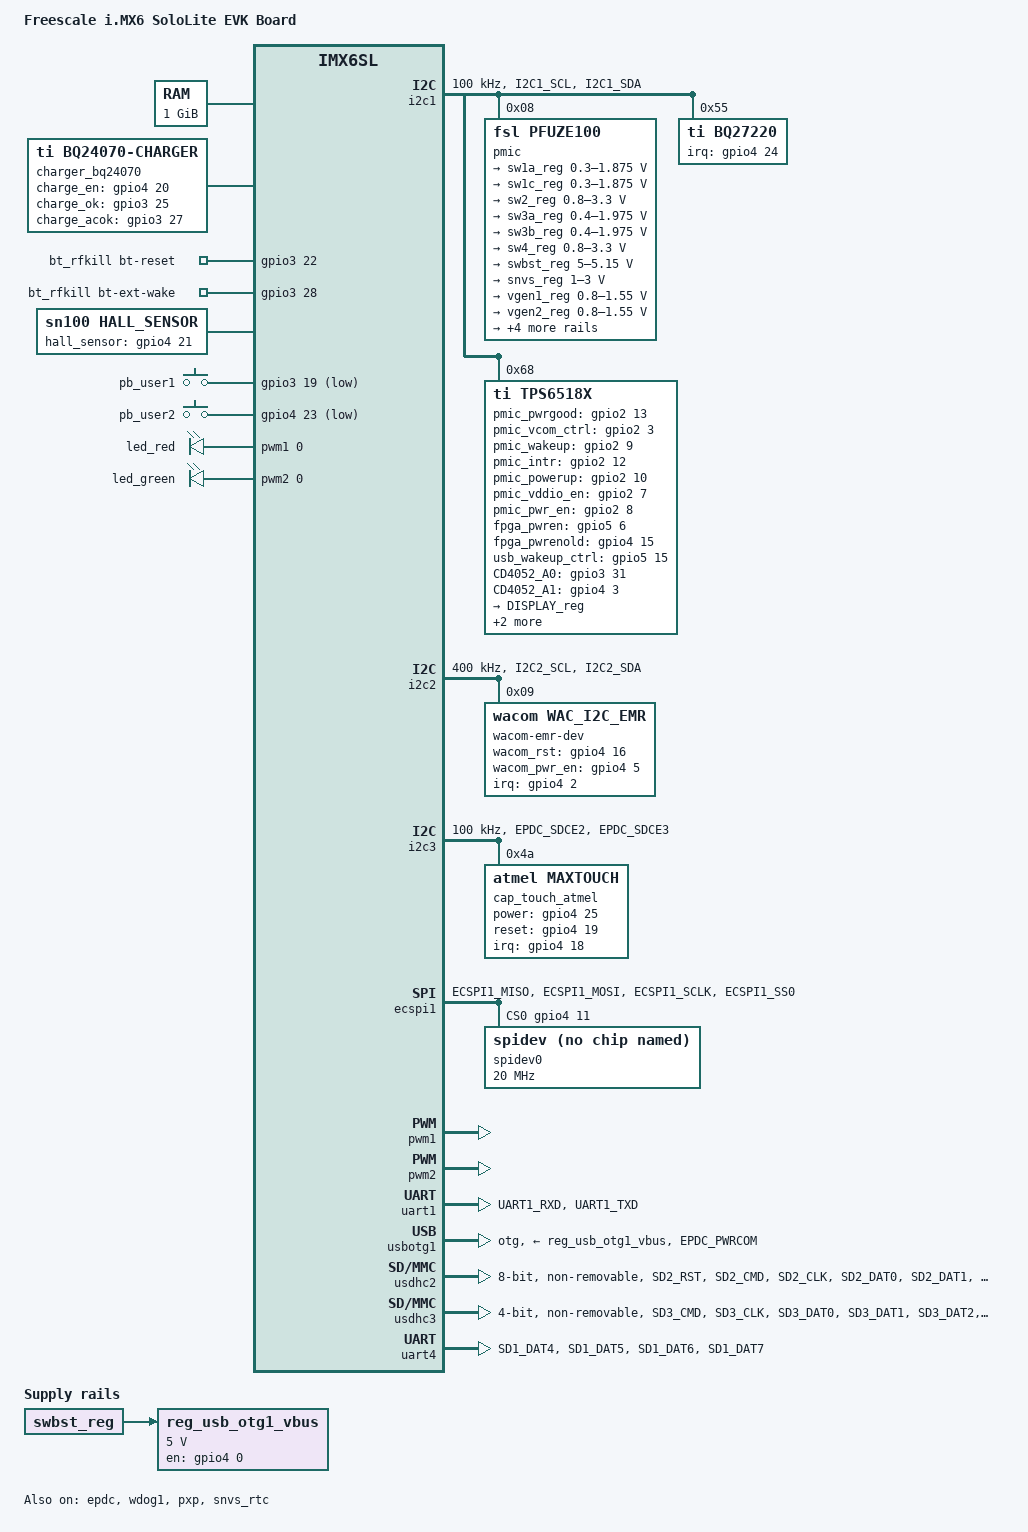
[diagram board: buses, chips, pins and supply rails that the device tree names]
/*
 * Copyright (C) 2013 Freescale Semiconductor, Inc.
 *
 * This program is free software; you can redistribute it and/or modify
 * it under the terms of the GNU General Public License version 2 as
 * published by the Free Software Foundation.
 */

/dts-v1/;

#include <dt-bindings/gpio/gpio.h>
#include <dt-bindings/input/input.h>
#include "imx6sl.dtsi"

/ {
	model = "Freescale i.MX6 SoloLite EVK Board";
	compatible = "fsl,imx6sl-evk", "fsl,imx6sl";

	memory {
		reg = <0x80000000 0x40000000>;
	};

	hardware: hardware {
		id = "sn100";
		status = "okay";
	};

	charger_bq24070 {
		compatible = "ti,bq24070-charger";
		pinctrl-names = "default";
		pinctrl-0 = <&pinctrl_charger>;
		charge_en = <&gpio4 20 0>;	
		charge_ok = <&gpio3 25 0>;	
		charge_acok = <&gpio3 27 0>;	
		status = "okay";
	};


	bt_rfkill {
		compatible = "fsl,mxc_bt_rfkill";
		pinctrl-names = "default";
		pinctrl-0 = <&pinctrl_bcm_bt_rfkill>;
		bt-reset-gpios = <&gpio3 22 0>;
		bt-ext-wake-gpios  = <&gpio3 28 0>;
		status = "okay";
	};

	hall_sensor {
		compatible =  "sn100,hall_sensor";
		pinctrl-names = "default";
		pinctrl-0 = <&pinctrl_hall_sensor>;
		gpio_hall_sensor = <&gpio4 21 0>;	// hall out
		status = "okay";
	};
	
#if 1
	gpio_keys{
		compatible = "gpio-keys";
		//#address-cells = <1>;
		//#size-cells = <0>;
		pinctrl-names = "default";
		pinctrl-0 = <&pinctrl_wakpin>;

		reg = <0x020a4000 0x4000>;
		
		gpio-controller;
		#gpio-cells = <2>;
		interrupt-controller;
		#interrupt-cells = <2>;
		status = "okay";

		pb_user1 {
		
		label = "pb_user1";
		gpios = <&gpio3 19 GPIO_ACTIVE_LOW>;
		interrupts = <0 103 IRQ_TYPE_EDGE_FALLING>;
		linux,code = <KEY_WAKEUP>;
		gpio-key,wakeup;
         };
         
		pb_user2 {
		
		label = "pb_user2";
		gpios = <&gpio4  23 GPIO_ACTIVE_LOW>;
		interrupts = <0 105 IRQ_TYPE_EDGE_FALLING>;
		linux,code = <KEY_WAKEUP>;
		gpio-key,wakeup;
         };
     };
#endif
#if 0
	gpio_keys {
		compatible = "gpio-keys";
		interrupt-controller;
		//#address-cells = <1>;
		//#size-cells = <0>;
		pinctrl-names = "default";
		pinctrl-0 = <&pinctrl_wakpin>;

	//	reg = <0x020a4000 0x20>;
	//	interrupts = <83  IRQ_TYPE_EDGE_FALLING>;
	//	gpio-controller;
	//	#gpio-cells = <2>;
		
	//	#interrupt-cells = <2>;
		status = "okay";

		pb_user1 {
		label = "pb_user1";
	//	interrupts = <83  IRQ_TYPE_EDGE_FALLING>;
		gpios = <&gpio3 19 GPIO_ACTIVE_HIGH>;
		linux,code = <KEY_WAKEUP>;
		gpio-key,wakeup;
         };
         /*
		pb_user2 {
		label = "pb_user2";
//		interrupts = <119  IRQ_TYPE_EDGE_FALLING>;
		gpios = <&gpio4  23 GPIO_ACTIVE_HIGH>;
		linux,code = <KEY_WAKEUP>;
		gpio-key,wakeup;
         };
         */
     };
#endif
	leds {
		compatible = "pwm-leds";
		pinctrl-names = "default";
		pinctrl-0 = <&pinctrl_pwm1 &pinctrl_pwm2>;
		red {
			label = "led_red";
			pwms = <&pwm1 0 10000000>;
			max-brightness = <255>;
//			linux,default-trigger = "default-on";
		};

		green {
			label = "led_green";
			pwms = <&pwm2 0 10000000>;
			max-brightness = <255>;
//			linux,default-trigger = "default-on";
		};
	};

	regulators {
		compatible = "simple-bus";
		#address-cells = <1>;
		#size-cells = <0>;

		reg_usb_otg1_vbus: regulator@0 {
			compatible = "regulator-fixed";
			reg = <0>;
			regulator-name = "usb_otg1_vbus";
			regulator-min-microvolt = <5000000>;
			regulator-max-microvolt = <5000000>;
			gpio = <&gpio4 0 1>;
			enable-active-high;
			vin-supply = <&swbst_reg>;
		};
	};
};

&cpu0 {
	arm-supply = <&sw1a_reg>;
	soc-supply = <&sw1c_reg>;
};

&epdc {
		pinctrl-names = "default","sleep";
		pinctrl-0 = <&pinctrl_epdc_0>;
		pinctrl-1 = <&pinctrl_epdc_1>;
	//	fpga_pwrenold = <&gpio4 15 0>;
		V3P3-supply = <&V3P3_reg>;
		VCOM-supply = <&VCOM_reg>;
		DISPLAY-supply = <&DISPLAY_reg>;
		status = "okay";
};

&wdog1 {
		pinctrl-names = "default";
		pinctrl-0 = <&pinctrl_wdog1>;
		fsl,wdog_b;
		status = "okay";
};

&gpc {
	 fsl,ldo-bypass = <1>;
};

&i2c1 {
	clock-frequency = <100000>;
	pinctrl-names = "default";
	pinctrl-0 = <&pinctrl_i2c1>;
	status = "okay";

	pmic: pfuze100@08 {
		compatible = "fsl,pfuze100";
		reg = <0x08>;

		regulators {
			sw1a_reg: sw1ab {
				regulator-min-microvolt = <300000>;
				regulator-max-microvolt = <1875000>;
				regulator-boot-on;
				regulator-always-on;
				regulator-ramp-delay = <6250>;
			};

			sw1c_reg: sw1c {
				regulator-min-microvolt = <300000>;
				regulator-max-microvolt = <1875000>;
				regulator-boot-on;
				regulator-always-on;
				regulator-ramp-delay = <6250>;
			};

			sw2_reg: sw2 {
				regulator-min-microvolt = <800000>;
				regulator-max-microvolt = <3300000>;
				regulator-boot-on;
				regulator-always-on;
			};

			sw3a_reg: sw3a {
				regulator-min-microvolt = <400000>;
				regulator-max-microvolt = <1975000>;
				regulator-boot-on;
				regulator-always-on;
			};

			sw3b_reg: sw3b {
				regulator-min-microvolt = <400000>;
				regulator-max-microvolt = <1975000>;
				regulator-boot-on;
				regulator-always-on;
			};

			sw4_reg: sw4 {
				regulator-min-microvolt = <800000>;
				regulator-max-microvolt = <3300000>;
			};

			swbst_reg: swbst {
				regulator-min-microvolt = <5000000>;
				regulator-max-microvolt = <5150000>;
			};

			snvs_reg: vsnvs {
				regulator-min-microvolt = <1000000>;
				regulator-max-microvolt = <3000000>;
				regulator-boot-on;
				regulator-always-on;
			};

			vref_reg: vrefddr {
				regulator-boot-on;
				regulator-always-on;
			};

			vgen1_reg: vgen1 {
				regulator-min-microvolt = <800000>;
				regulator-max-microvolt = <1550000>;
				regulator-always-on;
			};

			vgen2_reg: vgen2 {
				regulator-min-microvolt = <800000>;
				regulator-max-microvolt = <1550000>;
			};

			vgen3_reg: vgen3 {
				regulator-min-microvolt = <1800000>;
				regulator-max-microvolt = <3300000>;
			};

			vgen4_reg: vgen4 {
				regulator-min-microvolt = <1800000>;
				regulator-max-microvolt = <3300000>;
				regulator-always-on;
			};

			vgen5_reg: vgen5 {
				regulator-min-microvolt = <1800000>;
				regulator-max-microvolt = <3300000>;
				regulator-always-on;
			};

			vgen6_reg: vgen6 {
				regulator-min-microvolt = <1800000>;
				regulator-max-microvolt = <3300000>;
				regulator-always-on;
			};
		};
	};

	bq27220@55{
		pinctrl-names = "default";
		pinctrl-0 = <&pinctrl_bq27220>;		
		compatible = "ti,bq27220";
		reg = <0x55>;
		interrupt-parent = <&gpio4>;
		interrupts = <24 IRQ_TYPE_LEVEL_LOW>;
	};

	tps6518x@68 {
		pinctrl-names = "default";
		pinctrl-0 = <&pinctrl_tps6518x>;
		compatible = "ti,tps6518x";
		reg = <0x68>;
		/*
		 * power sequencing for TPS65180/65181
		 */
		pwr_seq0 = <0xe1>; /* [Vddh-seq=3 | Vpos-seq=2 | Vee-seq=0 | Vneg-seq=1] */
		pwr_seq1 = <0x30>; /* [Vneg-dly1=3 |Vee-dly0=0]  mSec */
		pwr_seq2 = <0x33>; /* [Vddh-dly3=3 | Vpos-dly2=3] mSec */
		/*
		 * power sequencing for TPS65185/65186
		 */
	//	upseq0 = <0xe4>;
		upseq0 = <0xe1>;
	//	upseq1 = <0x55>;
		upseq1 = <0xFF>;
		dwnseq0 = <0x1e>;
	//	dwnseq1 = <0xe0>;
		dwnseq1 = <0x00>;
	
		gpio_pmic_pwrgood = <&gpio2 13 0>;    //
		gpio_pmic_vcom_ctrl = <&gpio2 3 0>;     //
		gpio_pmic_wakeup = <&gpio2 9 0>;        //
		gpio_pmic_intr = <&gpio2 12 0>;		   //
		gpio_pmic_powerup = <&gpio2 10 0>;    //

		gpio_pmic_vddio_en = <&gpio2 7 0>;      //
		gpio_pmic_pwr_en = <&gpio2 8 0>;         //
		fpga_pwren = <&gpio5 6 0>;
		fpga_pwrenold = <&gpio4 15 0>;
		usb_wakeup_ctrl = <&gpio5 15 0>;

		CD4052_A0=<&gpio3 31 0>;
		CD4052_A1=<&gpio4 3 0>;
		
		regulators {
			DISPLAY_reg: DISPLAY {
				regulator-name = "DISPLAY";
			};

			VCOM_reg: VCOM {
				regulator-name = "VCOM";
				/* 2's-compliment, -4325000 */
				regulator-min-microvolt = <0xffbe0178>;
				/* 2's-compliment, -500000 */
				regulator-max-microvolt = <0xfff85ee0>;
			};

			V3P3_reg: V3P3 {
				regulator-name = "V3P3";
			};
		};
	};
};


&i2c2 {
	clock-frequency = <400000>;
	pinctrl-names = "default";
	pinctrl-0 = <&pinctrl_i2c2>;
	status = "okay";

	wacom-emr-dev@09 {
		pinctrl-names = "default","sleep";
		//pinctrl-0 = <&pinctrl_epdc_0>;
		//pinctrl-1 = <&pinctrl_epdc_1>;
		//pinctrl-names = "default";
		pinctrl-0 = <&pinctrl_wacom_emr>;
		pinctrl-1 = <&pinctrl_wacom_emr_sleep>;
		compatible = "wacom,wac_i2c_emr";
		reg = <0x09>;
		interrupt-parent = <&gpio4>;		
		interrupts = <2 IRQ_TYPE_EDGE_FALLING>;
		gpio_wacom_rst = <&gpio4 16 0>;		
		gpio_wacom_pwr_en  = <&gpio4 5 0>;
		status = "okay";
	};
};

#define MXT_SUSPEND_DEEP_SLEEP 0
&i2c3 {
	clock-frequency = <100000>;
	pinctrl-names = "default";
	pinctrl-0 = <&pinctrl_i2c3>;
	status = "ok";

	cap_touch_atmel{
		pinctrl-names = "default","sleep";
		pinctrl-0 = <&pinctrl_atmel_ts>;
		pinctrl-1 = <&pinctrl_atmel_ts_sleep>;
		compatible = "atmel,maxtouch";
		reg = <0x4a>;
		interrupt-parent = <&gpio4>;
		interrupts = <18 IRQ_TYPE_EDGE_FALLING>;
		atmel,power-gpio =<&gpio4 25 0>;
		atmel,reset-gpio = <&gpio4 19 0>;
		atmel,suspend-mode = <MXT_SUSPEND_DEEP_SLEEP>;
		atmel,cfg_name="maxtouch.cfg";
	};
};

&ecspi1 {
	fsl,spi-num-chipselects = <1>;
	cs-gpios = <&gpio4 11 0>;
	pinctrl-names = "default";
	pinctrl-0 = <&pinctrl_ecspi1>;
	status = "okay";

	spidev0: spi@0 {
		compatible = "spidev";
		reg = <0>;
		spi-max-frequency = <20000000>;
	};
};

&iomuxc {
	pinctrl-names = "default";
	pinctrl-0 = <&pinctrl_hog>;

	imx6sl-evk {
		pinctrl_hog: hoggrp {
			fsl,pins = <
				MX6SL_PAD_KEY_ROW7__GPIO4_IO07   	 0x17059   	//SDC_SD1_CD_B
				MX6SL_PAD_KEY_COL7__GPIO4_IO06   	 0x17059    	//SDC_SD1_WP
				MX6SL_PAD_KEY_COL4__GPIO4_IO00		0x110b0		//usb otg power
				MX6SL_PAD_KEY_ROW4__GPIO4_IO01            0x110b0         //added by wym 2018-04-19
			//	MX6SL_PAD_KEY_ROW4__USB_OTG1_OC 	0x00400840	  //added by wym 2018-04-19
			//	MX6SL_PAD_FEC_MDC__GPIO4_IO23		0x130b0			//for factory test 100k pull_down
			>;
		};
#if 0
		pinctrl_bcm_bt_rfkill: bcm_bt_rfkill {
			fsl,pins = <
		//		MX6SL_PAD_REF_CLK_32K__GPIO3_IO22   0x110b0  //AP_BT_RST_N
				MX6SL_PAD_REF_CLK_32K__GPIO3_IO22   0x00400800  //AP_BT_RST_N  //added by wym 20180531,disable the bt device,
				MX6SL_PAD_SD1_DAT4__GPIO5_IO12		0x00400800   ////added by wym 20180531,disable the bt device,
				MX6SL_PAD_SD1_DAT5__GPIO5_IO09		0x00400800   //added by wym 20180531,disable the bt device,
				MX6SL_PAD_SD1_DAT6__GPIO5_IO07		0x00400800   //added by wym 20180531,disable the bt device,
				MX6SL_PAD_SD1_DAT7__GPIO5_IO10		0x00400800   //added by wym 20180531,disable the bt device,

				MX6SL_PAD_KEY_COL2__GPIO3_IO28        0x110b0
				MX6SL_PAD_KEY_ROW2__GPIO3_IO29   	0x110b0
			/*
				MX6SL_PAD_REF_CLK_32K__GPIO3_IO22   0x00400840  //AP_BT_RST_N
				MX6SL_PAD_KEY_COL2__GPIO3_IO28        0x00400840
			//	MX6SL_PAD_REF_CLK_32K__GPIO3_IO22   0x110b0
				MX6SL_PAD_KEY_COL1__GPIO3_IO26	0x00400840
				MX6SL_PAD_SD1_DAT4__GPIO5_IO12	0x00400840
				MX6SL_PAD_SD1_DAT5__GPIO5_IO09	0x00400840
				MX6SL_PAD_SD1_DAT6__GPIO5_IO07	0x00400840
				MX6SL_PAD_SD1_DAT7__GPIO5_IO10	0x00400840

			*/
			>;
		};
#else
		pinctrl_bcm_bt_rfkill: bcm_bt_rfkill {
			fsl,pins = <
				MX6SL_PAD_REF_CLK_32K__GPIO3_IO22	0x110b0     //AP_BT_RST_N
				MX6SL_PAD_KEY_COL2__GPIO3_IO28		0x110b0     // bt_wake
				MX6SL_PAD_KEY_ROW2__GPIO3_IO29		0x110b0     // ap6212 power_en

				MX6SL_PAD_FEC_TX_EN__GPIO4_IO22         0x130B0    //clk_req  100k pull down
				MX6SL_PAD_KEY_COL1__GPIO3_IO26		0x110b0    //bt_wakeup_host
			>;
		};
#endif


		pinctrl_wacom_emr: wacom_emr_grp-0 {
			fsl,pins = <
				MX6SL_PAD_KEY_COL5__GPIO4_IO02	0x110b0			//pen int
				MX6SL_PAD_KEY_COL6__GPIO4_IO04    0x110b0             	// pen detect pin
				MX6SL_PAD_KEY_ROW6__GPIO4_IO05    0x110b0
				MX6SL_PAD_FEC_TXD1__GPIO4_IO16      0x110b0
			>;
		};
		pinctrl_wacom_emr_sleep: wacom_emr_grp-1 {
					fsl,pins = <
						MX6SL_PAD_KEY_COL5__GPIO4_IO02	0x00400840 		//pen int
						MX6SL_PAD_KEY_COL6__GPIO4_IO04	  0x00400840				// pen detect pin
						MX6SL_PAD_FEC_TXD1__GPIO4_IO16		0x00400840
					>;
				};

		pinctrl_atmel_ts: atmel_ts_grp-0 {
			fsl,pins = <
				MX6SL_PAD_FEC_RX_ER__GPIO4_IO19  		0x110b0
				MX6SL_PAD_FEC_RXD1__GPIO4_IO18  		0x110b0	
				MX6SL_PAD_FEC_CRS_DV__GPIO4_IO25 		0x110b0	
			>;
		};

		pinctrl_atmel_ts_sleep: atmel_ts_grp-1 {
					fsl,pins = <
						MX6SL_PAD_FEC_RX_ER__GPIO4_IO19 			0x00400840
						MX6SL_PAD_FEC_RXD1__GPIO4_IO18			0x00400840 
					>;
				};

		pinctrl_hall_sensor: hall_sensor_grp {
			fsl,pins = <
				MX6SL_PAD_FEC_TX_CLK__GPIO4_IO21 	0x110b0  /* hall sensor out */
			>;
		};

		pinctrl_charger: pinctrl_charger_grp {
			fsl,pins = <
				MX6SL_PAD_FEC_MDIO__GPIO4_IO20 			0x110b0  /* charger-en*/
				MX6SL_PAD_KEY_ROW0__GPIO3_IO25 			0x110b0	/* charger-ok*/
				MX6SL_PAD_KEY_ROW1__GPIO3_IO27			0x110b0	/* charger-acok*/
			>;
		};

       	pinctrl_wakpin: gpio_keys_grp {
             		fsl,pins = <
                 		MX6SL_PAD_HSIC_DAT__GPIO3_IO19    0xdf030
                 		MX6SL_PAD_FEC_MDC__GPIO4_IO23    0x1f0b0
           	  	>;
        		 };

		 pinctrl_pwm1: pwm1_grp {
			 fsl,pins = <
				 MX6SL_PAD_PWM1__PWM1_OUT 		0x110b0
			 >;
		 };

		 pinctrl_pwm2: pwm2_grp {
			 fsl,pins = <
				 MX6SL_PAD_HSIC_STROBE__PWM2_OUT 	0x110b0
			 >;
		 };

		pinctrl_wdog1: pinctrl_wdog1_grp {
			fsl,pins = <
				MX6SL_PAD_WDOG_B__WDOG1_B	 	0x110b0
			>;
		};		
		
                pinctrl_epdc_0: epdcgrp-0 {
                        fsl,pins = <
								MX6SL_PAD_EPDC_D0__EPDC_DATA00  0x80000000
								MX6SL_PAD_EPDC_D1__EPDC_DATA01  0x80000000
								MX6SL_PAD_EPDC_D2__EPDC_DATA02  0x80000000
								MX6SL_PAD_EPDC_D3__EPDC_DATA03  0x80000000
								MX6SL_PAD_EPDC_D4__EPDC_DATA04  0x80000000
								MX6SL_PAD_EPDC_D5__EPDC_DATA05  0x80000000
								MX6SL_PAD_EPDC_D6__EPDC_DATA06  0x80000000
								MX6SL_PAD_EPDC_D7__EPDC_DATA07  0x80000000
								MX6SL_PAD_EPDC_D8__EPDC_DATA08  0x80000000
								MX6SL_PAD_EPDC_D9__EPDC_DATA09  0x80000000
								MX6SL_PAD_EPDC_D10__EPDC_DATA10 0x80000000
								MX6SL_PAD_EPDC_D11__EPDC_DATA11 0x80000000
								MX6SL_PAD_EPDC_D12__EPDC_DATA12 0x80000000
								MX6SL_PAD_EPDC_D13__EPDC_DATA13 0x80000000
								MX6SL_PAD_EPDC_D14__EPDC_DATA14 0x80000000
								MX6SL_PAD_EPDC_D15__EPDC_DATA15 0x80000000
								MX6SL_PAD_EPDC_GDCLK__EPDC_GDCLK 0x80000000
								MX6SL_PAD_EPDC_GDSP__EPDC_GDSP   0x80000000
								MX6SL_PAD_EPDC_GDOE__EPDC_GDOE   0x80000000
								MX6SL_PAD_EPDC_SDCLK__EPDC_SDCLK_P 0x80000000
								MX6SL_PAD_EPDC_SDOE__EPDC_SDOE   0x80000000
								MX6SL_PAD_EPDC_SDLE__EPDC_SDLE   0x80000000
								MX6SL_PAD_EPDC_BDR0__EPDC_BDR0   0x80000000
								MX6SL_PAD_EPDC_SDCE0__EPDC_SDCE0 0x80000000

		//	   MX6SL_PAD_SD1_DAT3__GPIO5_IO06   0x110b0    //fpga power control pin
		//	   MX6SL_PAD_ECSPI2_SS0__GPIO4_IO15   0x110b0    //fpga power control pin  old

                        >;
                };
				//wym test
		pinctrl_epdc_1: epdcgrp-1 {
                        fsl,pins = <
								//MX6SL_PAD_EPDC_D0__EPDC_DATA00  	0x00400840
								//MX6SL_PAD_EPDC_D1__EPDC_DATA01  	0x00400840
								//MX6SL_PAD_EPDC_D2__EPDC_DATA02  	0x00400840
								//MX6SL_PAD_EPDC_D3__EPDC_DATA03  	0x00400840
								//MX6SL_PAD_EPDC_D4__EPDC_DATA04  	0x00400840
								//MX6SL_PAD_EPDC_D5__EPDC_DATA05  	0x00400840
								//MX6SL_PAD_EPDC_D6__EPDC_DATA06  	0x00400840
								//MX6SL_PAD_EPDC_D7__EPDC_DATA07  	0x00400840
								//MX6SL_PAD_EPDC_D8__EPDC_DATA08  	0x00400840
								//MX6SL_PAD_EPDC_D9__EPDC_DATA09  	0x00400840
								//MX6SL_PAD_EPDC_D10__EPDC_DATA10 	0x00400840
								//MX6SL_PAD_EPDC_D11__EPDC_DATA11 	0x00400840
								//MX6SL_PAD_EPDC_D12__EPDC_DATA12 	0x00400840
								//MX6SL_PAD_EPDC_D13__EPDC_DATA13 	0x00400840
								//MX6SL_PAD_EPDC_D14__EPDC_DATA14 	0x00400840
								//MX6SL_PAD_EPDC_D15__EPDC_DATA15 	0x00400840
								//MX6SL_PAD_EPDC_GDCLK__EPDC_GDCLK 	0x00400840
								//MX6SL_PAD_EPDC_GDSP__EPDC_GDSP   	0x00400840
								//MX6SL_PAD_EPDC_GDOE__EPDC_GDOE   	0x00400840
								//MX6SL_PAD_EPDC_SDCLK__EPDC_SDCLK_P 0x00400840
								//MX6SL_PAD_EPDC_SDOE__EPDC_SDOE   	0x00400840
								//MX6SL_PAD_EPDC_SDLE__EPDC_SDLE   	0x00400840
								//MX6SL_PAD_EPDC_BDR0__EPDC_BDR0   	0x00400840
								//MX6SL_PAD_EPDC_SDCE0__EPDC_SDCE0 	0x00400840

								MX6SL_PAD_EPDC_D0__EPDC_DATA00  	0x00400840
								MX6SL_PAD_EPDC_D1__EPDC_DATA01  	0x00400840
								MX6SL_PAD_EPDC_D2__EPDC_DATA02  	0x00400840
								MX6SL_PAD_EPDC_D3__EPDC_DATA03  	0x00400840
								MX6SL_PAD_EPDC_D4__EPDC_DATA04  	0x00400840
								MX6SL_PAD_EPDC_D5__EPDC_DATA05  	0x00400840
								MX6SL_PAD_EPDC_D6__EPDC_DATA06  	0x00400840
								MX6SL_PAD_EPDC_D7__EPDC_DATA07  	0x00400840
								MX6SL_PAD_EPDC_D8__EPDC_DATA08  	0x00400840
								MX6SL_PAD_EPDC_D9__EPDC_DATA09  	0x00400840
								MX6SL_PAD_EPDC_D10__EPDC_DATA10 	0x00400840
								MX6SL_PAD_EPDC_D11__EPDC_DATA11 	0x00400840
								MX6SL_PAD_EPDC_D12__EPDC_DATA12 	0x00400840
								MX6SL_PAD_EPDC_D13__EPDC_DATA13 	0x00400840
								MX6SL_PAD_EPDC_D14__EPDC_DATA14 	0x00400840
								MX6SL_PAD_EPDC_D15__EPDC_DATA15 	0x00400840
								MX6SL_PAD_EPDC_GDCLK__EPDC_GDCLK 	0x00400840
								MX6SL_PAD_EPDC_GDSP__EPDC_GDSP   	0x00400840
								MX6SL_PAD_EPDC_GDOE__EPDC_GDOE   	0x00400840
								MX6SL_PAD_EPDC_SDCLK__EPDC_SDCLK_P 0x00400840
								MX6SL_PAD_EPDC_SDOE__EPDC_SDOE   	0x00400840
								MX6SL_PAD_EPDC_SDLE__EPDC_SDLE   	0x00400840
								MX6SL_PAD_EPDC_BDR0__EPDC_BDR0   	0x00400840
								MX6SL_PAD_EPDC_SDCE0__EPDC_SDCE0 	0x00400840

//                             MX6SL_PAD_EPDC_GDSP__EPDC_GDSP   0x00400848
 //                             MX6SL_PAD_EPDC_SDCE0__EPDC_SDCE0   0x00400848
                        >;
                };

		pinctrl_i2c1: i2c1grp {
			fsl,pins = <
				MX6SL_PAD_I2C1_SCL__I2C1_SCL	0x4001b8b1
				MX6SL_PAD_I2C1_SDA__I2C1_SDA	0x4001b8b1
			>;
		};


		pinctrl_i2c2: i2c2grp {
			fsl,pins = <
				MX6SL_PAD_I2C2_SCL__I2C2_SCL	0x4001b8b1
				MX6SL_PAD_I2C2_SDA__I2C2_SDA	0x4001b8b1
			>;
		};

		pinctrl_i2c3: i2c3grp {
			fsl,pins = <
				MX6SL_PAD_EPDC_SDCE2__I2C3_SCL 0x4001b8b1
				MX6SL_PAD_EPDC_SDCE3__I2C3_SDA 0x4001b8b1
			>;
		};

		pinctrl_ecspi1: ecspi1grp {
			fsl,pins = <
				//MX6SL_PAD_ECSPI1_MISO__ECSPI1_MISO	0x100b1
				//MX6SL_PAD_ECSPI1_MOSI__ECSPI1_MOSI	0x100b1
				//MX6SL_PAD_ECSPI1_SCLK__ECSPI1_SCLK	0x100b1
				//MX6SL_PAD_ECSPI1_SS0__GPIO4_IO11	0x80000000

				MX6SL_PAD_ECSPI1_MISO__GPIO4_IO10    0x10081
				MX6SL_PAD_ECSPI1_MOSI__GPIO4_IO09    0x10081
				MX6SL_PAD_ECSPI1_SCLK__GPIO4_IO08    0x10081
				MX6SL_PAD_ECSPI1_SS0__GPIO4_IO11     0x10081
			>;
		};

		pinctrl_tps6518x: tps65618xgrp-1 {
			fsl,pins = <
				MX6SL_PAD_EPDC_PWRSTAT__GPIO2_IO13	0x110b0  /*  # pwrgood */
				MX6SL_PAD_EPDC_VCOM0__GPIO2_IO03		0x110b0  /*  # vcom_ctrl */
				MX6SL_PAD_EPDC_PWRINT__GPIO2_IO12		0x110b0  /* # pwr int */
				MX6SL_PAD_EPDC_PWRCTRL2__GPIO2_IO09	0x110b0  /* wakeup */
				MX6SL_PAD_EPDC_PWRCTRL3__GPIO2_IO10      0x110b0  /* v3p3 */
				MX6SL_PAD_EPDC_PWRCTRL0__GPIO2_IO07	0x110b0  /*  vddin */
				MX6SL_PAD_EPDC_PWRCTRL1__GPIO2_IO08	0x110b0  /*  pwr_en */
				MX6SL_PAD_SD1_CLK__GPIO5_IO15         0x110b0


			MX6SL_PAD_SD1_DAT3__GPIO5_IO06	 0x110b0	//fpga power control pin
			MX6SL_PAD_ECSPI2_SS0__GPIO4_IO15   0x110b0	  //fpga power control pin	old

				MX6SL_PAD_KEY_ROW3__GPIO3_IO31  0x110b0
				MX6SL_PAD_KEY_ROW5__GPIO4_IO03   0x110b0
			>;
		};

		pinctrl_bq27220: pinctrl_bq27220-grp {
			fsl,pins = <
			 	MX6SL_PAD_FEC_TXD0__GPIO4_IO24             0x00010070 	
			>;
		};

		pinctrl_uart1: uart1grp {
			fsl,pins = <
				MX6SL_PAD_UART1_RXD__UART1_RX_DATA	0x110B0
				MX6SL_PAD_UART1_TXD__UART1_TX_DATA	0x110B0
			>;
		};

		pinctrl_uart4_1: uart4grp-1 {
			fsl,pins = <
				MX6SL_PAD_SD1_DAT4__UART4_RX_DATA		   0x110B0
				MX6SL_PAD_SD1_DAT5__UART4_TX_DATA		   0x110B0
				MX6SL_PAD_SD1_DAT6__UART4_RTS_B 			  0x110B0 
				MX6SL_PAD_SD1_DAT7__UART4_CTS_B 			  0x110B0	
			>;
		};

		pinctrl_uart4dte_1: uart4dtegrp-1 {
			fsl,pins = <
				MX6SL_PAD_SD1_DAT5__UART4_RX_DATA	0x1b0b1
				MX6SL_PAD_SD1_DAT4__UART4_TX_DATA	0x1b0b1
				MX6SL_PAD_SD1_DAT6__UART4_CTS_B		0x1b0b1
				MX6SL_PAD_SD1_DAT7__UART4_RTS_B		0x1b0b1
			>;
		};

		pinctrl_usbotg1: usbotg1grp {
			fsl,pins = <
				MX6SL_PAD_EPDC_PWRCOM__USB_OTG1_ID	0x17059
			>;
		};

		/* Only MUX SD1_DAT0..3 lines so UART4 can be MUXed on higher data lines. */
		pinctrl_usdhc1_1: usdhc1grp-1 {
			fsl,pins = <
				MX6SL_PAD_SD1_CMD__SD1_CMD		0x17059
			MX6SL_PAD_SD1_CLK__SD1_CLK		0x10059
				MX6SL_PAD_SD1_DAT0__SD1_DATA0		0x17059
				MX6SL_PAD_SD1_DAT1__SD1_DATA1		0x17059
				MX6SL_PAD_SD1_DAT2__SD1_DATA2		0x17059
				MX6SL_PAD_SD1_DAT3__SD1_DATA3		0x17059
			>;
		};

		pinctrl_usdhc2: usdhc2grp {
			fsl,pins = <
				MX6SL_PAD_SD2_RST__SD2_RESET 		0x110B0
				MX6SL_PAD_SD2_CMD__SD2_CMD		0x17059
				MX6SL_PAD_SD2_CLK__SD2_CLK		0x10059
				MX6SL_PAD_SD2_DAT0__SD2_DATA0		0x17059
				MX6SL_PAD_SD2_DAT1__SD2_DATA1		0x17059
				MX6SL_PAD_SD2_DAT2__SD2_DATA2		0x17059
				MX6SL_PAD_SD2_DAT3__SD2_DATA3		0x17059
				MX6SL_PAD_SD2_DAT4__SD2_DATA4		0x17059
				MX6SL_PAD_SD2_DAT5__SD2_DATA5		0x17059
				MX6SL_PAD_SD2_DAT6__SD2_DATA6		0x17059
				MX6SL_PAD_SD2_DAT7__SD2_DATA7		0x17059
			>;
		};

		pinctrl_usdhc2_100mhz: usdhc2grp100mhz {
			fsl,pins = <
				MX6SL_PAD_SD2_RST__SD2_RESET 		0x110B0			
				MX6SL_PAD_SD2_CMD__SD2_CMD		0x170b9
				MX6SL_PAD_SD2_CLK__SD2_CLK		0x100b9
				MX6SL_PAD_SD2_DAT0__SD2_DATA0		0x170b9
				MX6SL_PAD_SD2_DAT1__SD2_DATA1		0x170b9
				MX6SL_PAD_SD2_DAT2__SD2_DATA2		0x170b9
				MX6SL_PAD_SD2_DAT3__SD2_DATA3		0x170b9
				MX6SL_PAD_SD2_DAT4__SD2_DATA4		0x170b9
				MX6SL_PAD_SD2_DAT5__SD2_DATA5		0x170b9
				MX6SL_PAD_SD2_DAT6__SD2_DATA6		0x170b9
				MX6SL_PAD_SD2_DAT7__SD2_DATA7		0x170b9
			>;
		};

		pinctrl_usdhc2_200mhz: usdhc2grp200mhz {
			fsl,pins = <
				MX6SL_PAD_SD2_RST__SD2_RESET 		0x110B0		
				MX6SL_PAD_SD2_CMD__SD2_CMD		0x170f9
				MX6SL_PAD_SD2_CLK__SD2_CLK		0x100f9
				MX6SL_PAD_SD2_DAT0__SD2_DATA0		0x170f9
				MX6SL_PAD_SD2_DAT1__SD2_DATA1		0x170f9
				MX6SL_PAD_SD2_DAT2__SD2_DATA2		0x170f9
				MX6SL_PAD_SD2_DAT3__SD2_DATA3		0x170f9
				MX6SL_PAD_SD2_DAT4__SD2_DATA4		0x170f9
				MX6SL_PAD_SD2_DAT5__SD2_DATA5		0x170f9
				MX6SL_PAD_SD2_DAT6__SD2_DATA6		0x170f9
				MX6SL_PAD_SD2_DAT7__SD2_DATA7		0x170f9
			>;
		};

		pinctrl_usdhc3_1: usdhc3grp-1 {
			fsl,pins = <
				MX6SL_PAD_SD3_CMD__SD3_CMD		0x17059
				MX6SL_PAD_SD3_CLK__SD3_CLK		0x10059
				MX6SL_PAD_SD3_DAT0__SD3_DATA0		0x17059
				MX6SL_PAD_SD3_DAT1__SD3_DATA1		0x17059
				MX6SL_PAD_SD3_DAT2__SD3_DATA2		0x17059
				MX6SL_PAD_SD3_DAT3__SD3_DATA3		0x17059
				MX6SL_PAD_FEC_REF_CLK__GPIO4_IO26          0x110b0  /* for wlreg_on */
				MX6SL_PAD_KEY_COL0__GPIO3_IO24               0x110b0  /* for  WL_HOST_WAKE */				
				
			>;
		};		

		pinctrl_csi_0: csigrp-0 {
			fsl,pins = <
				MX6SL_PAD_EPDC_GDRL__CSI_MCLK	0x110b0
				MX6SL_PAD_EPDC_GDCLK__CSI_PIXCLK 0x110b0
				MX6SL_PAD_EPDC_GDSP__CSI_VSYNC	0x110b0
				MX6SL_PAD_EPDC_GDOE__CSI_HSYNC	0x110b0
				MX6SL_PAD_EPDC_SDLE__CSI_DATA09	0x110b0
				MX6SL_PAD_EPDC_SDCLK__CSI_DATA08 0x110b0
				MX6SL_PAD_EPDC_D7__CSI_DATA07	0x110b0
				MX6SL_PAD_EPDC_D6__CSI_DATA06	0x110b0
				MX6SL_PAD_EPDC_D5__CSI_DATA05	0x110b0
				MX6SL_PAD_EPDC_D4__CSI_DATA04	0x110b0
				MX6SL_PAD_EPDC_D3__CSI_DATA03	0x110b0
				MX6SL_PAD_EPDC_D2__CSI_DATA02	0x110b0
				MX6SL_PAD_EPDC_D1__CSI_DATA01	0x110b0
				MX6SL_PAD_EPDC_D0__CSI_DATA00	0x110b0
				MX6SL_PAD_EPDC_SDOE__GPIO1_IO25	 0x110b0
			>;
		};
	};
};



&pwm1 {
	status = "okay";
};

&pwm2 {
	status = "okay";
};

&pxp {
	status = "okay";
};

&uart1 {
	pinctrl-names = "default";
	pinctrl-0 = <&pinctrl_uart1>;
	status = "okay";
};

&usbotg1 {
	vbus-supply = <&reg_usb_otg1_vbus>;
	pinctrl-names = "default";
	pinctrl-0 = <&pinctrl_usbotg1>;
	disable-over-current;
//	srp-disable;
//	hnp-disable;
	adp-disable;
	otg-rev = <0x0200>;
	dr_mode = "otg"; 	// can't be host , otg  peripheral or default is ok; 
	status = "okay";
};

&usbphy1 {
	tx-d-cal = <0x5>;
};

#if 0
&usdhc1 {
	pinctrl-names = "default";
	pinctrl-0 = <&pinctrl_usdhc1_1>;
	bus-width = <4>;
	no-1-8-v;
	cd-gpios = <&gpio4 7 GPIO_ACTIVE_LOW>;
	wp-gpios = <&gpio4 6 GPIO_ACTIVE_HIGH>;
	keep-power-in-suspend;
	enable-sdio-wakeup;
	status = "okay";
};
#endif

&usdhc2 {
	pinctrl-names = "default", "state_100mhz", "state_200mhz";
	pinctrl-0 = <&pinctrl_usdhc2>;
	pinctrl-1 = <&pinctrl_usdhc2_100mhz>;
	pinctrl-2 = <&pinctrl_usdhc2_200mhz>;
	bus-width = <8>;
	keep-power-in-suspend;
	no-1-8-v;
	non-removable;
	enable-sdio-wakeup;
	status = "okay";
};

&usdhc3 {
	pinctrl-names = "default";
	pinctrl-0 = <&pinctrl_usdhc3_1>;
	bus-width = <4>;
	no-1-8-v;
	non-removable;
	cd-post;
	pm-ignore-notify;
	wifi-host;	
	cd-gpios = <&gpio3 22 GPIO_ACTIVE_LOW>;
	keep-power-in-suspend;
	enable-sdio-wakeup;
	status = "okay";
};

&uart4 {
	pinctrl-names = "default";
	pinctrl-0 = <&pinctrl_uart4_1>;
	fsl,uart-has-rtscts;
	status = "okay";
};

&usdhc1 {
	status = "disabled";
};

&snvs_poweroff {
	status = "okay";
	};

&snvs_rtc {
		status = "okay";
};
#if 0
 				&snvs_pwrkey {
				//	compatible = "fsl,sec-v4.0-pwrkey";
				//	regmap = <&snvs>;
				//	interrupts = <0 4 IRQ_TYPE_LEVEL_HIGH>;  // 4 = 36-32
				//	linux,keycode = <KEY_POWER>;
				//	wakeup;
					status = "okay";
				};
#endif
